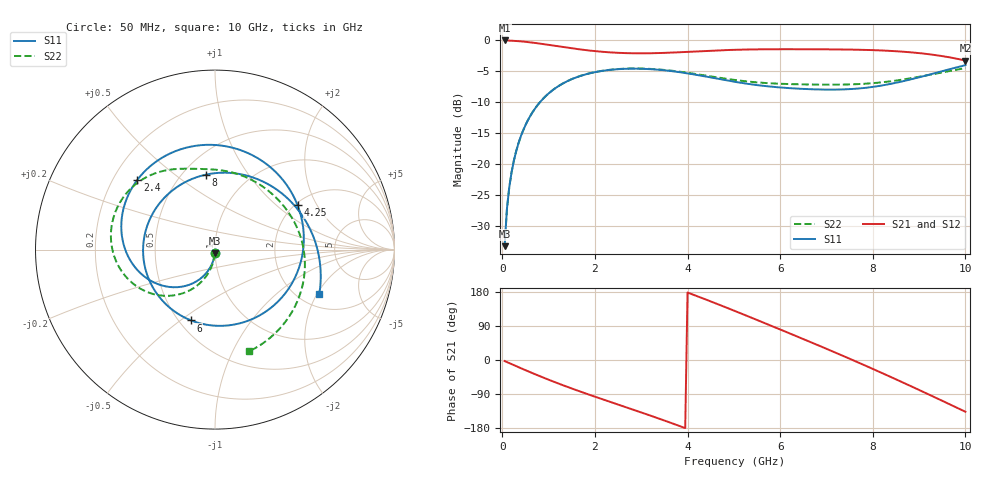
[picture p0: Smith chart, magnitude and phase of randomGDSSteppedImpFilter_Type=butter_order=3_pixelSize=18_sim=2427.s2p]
! freq	dB(S11)	phase(S11)	dB(S12)	phase(S12)
!  dB(S21)	phase(S21)	dB(S22)	phase(S22)
!S-par simulation data
#  GHz  S  DB  R 50
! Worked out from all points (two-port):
!   200 points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, 50 MHz to 10 GHz, reference 50 ohm
!   highest |S21| = -0.01 dB at 50 MHz (marker M1); lowest = -3.3 dB at 10 GHz (marker M2)
!   |S21| within 3 dB of the highest: start of sweep to 9.846 GHz
!   lowest |S11| = -33.3 dB at 50 MHz (marker M3), VSWR 1.04, Z = 49.8 - j2.16 ohm
!   |S11| at or under -10 dB: start of sweep to 813.1 MHz
!   |S22| runs from -33.3 to -4.5 dB; largest |S21 - S12| = 0
!   S11 on the Smith chart (normalised r, x): 50 MHz: 1.00, -0.04; 2.4 GHz: 0.30, +0.35; 4.25 GHz: 2.07, +1.40; 6 GHz: 0.57, -0.55; 8 GHz: 0.64, +0.65; 10 GHz: 2.56, -2.08
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0.05  -33.27 -93.1  -0.01 -2.8  -0.01 -2.8  -33.27 -92.5
0.1  -27.27 -96.3  -0.02 -5.5  -0.02 -5.5  -27.27 -95.1
0.2  -21.33 -102.6  -0.05 -10.9  -0.05 -10.9  -21.32 -100.1
0.5  -13.71 -120.5  -0.22 -26.8  -0.22 -26.8  -13.70 -114.3
1.1  -7.97 -154.4  -0.83 -56.8  -0.83 -56.8  -7.96 -140.4
1.75  -5.60 171.4  -1.52 -86.1  -1.52 -86.1  -5.58 -164.8
2.4  -4.71 138.1  -1.97 -113.5  -1.97 -113.5  -4.69 174.0
2.95  -4.57 108.8  -2.09 -136.2  -2.09 -136.2  -4.54 157.7
3.4  -4.76 83.2  -2.04 -155.3  -2.04 -155.3  -4.71 145.5
4.25  -5.64 28.2  -1.75 166.5  -1.75 166.5  -5.51 124.9
4.65  -6.19 -1.1  -1.61 147.5  -1.61 147.5  -5.99 116.7
5.05  -6.73 -32.1  -1.51 128.0  -1.51 128.0  -6.43 109.1
5.55  -7.27 -72.2  -1.44 103.2  -1.44 103.2  -6.82 100.0
6  -7.61 -108.6  -1.42 80.6  -1.42 80.6  -7.01 91.1
6.7  -7.90 -164.1  -1.43 45.1  -1.43 45.1  -7.14 74.7
7.35  -7.92 145.5  -1.46 11.3  -1.46 11.3  -7.14 56.5
8  -7.52 96.8  -1.57 -23.4  -1.57 -23.4  -6.91 34.8
8.35  -7.08 72.2  -1.68 -42.6  -1.68 -42.6  -6.64 21.1
8.75  -6.43 46.0  -1.88 -64.9  -1.88 -64.9  -6.20 3.0
9.15  -5.68 22.0  -2.17 -87.6  -2.17 -87.6  -5.67 -17.9
9.6  -4.77 -2.6  -2.66 -113.4  -2.66 -113.4  -5.03 -44.8
10  -4.00 -22.9  -3.26 -136.6  -3.26 -136.6  -4.47 -71.4
